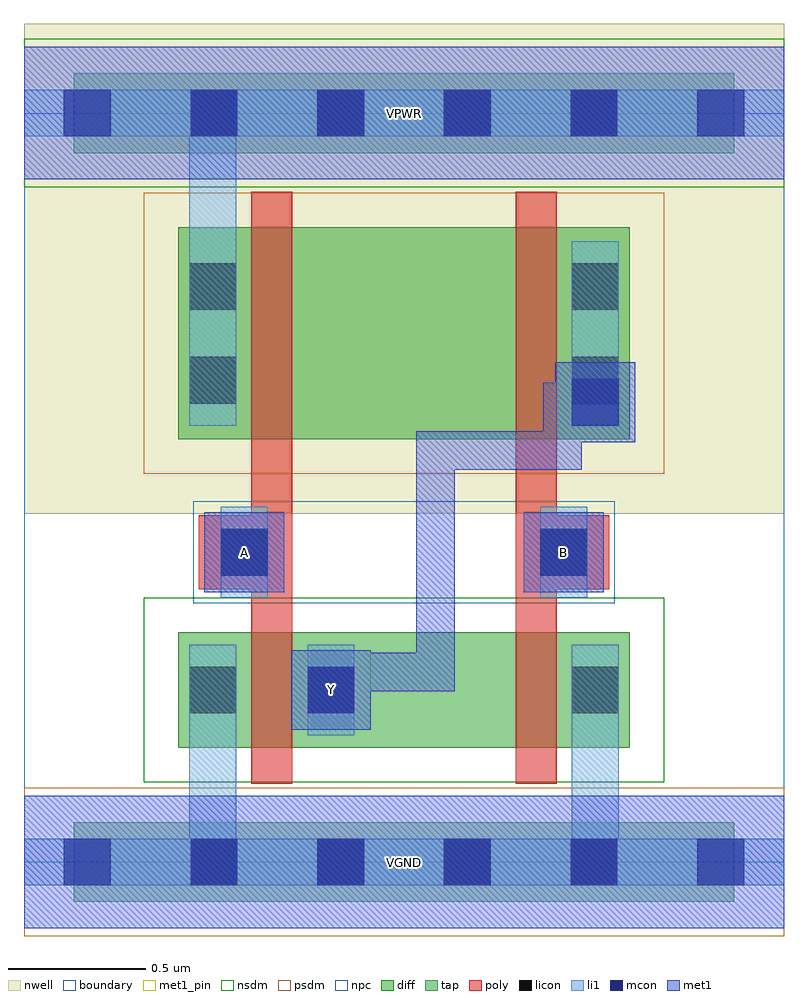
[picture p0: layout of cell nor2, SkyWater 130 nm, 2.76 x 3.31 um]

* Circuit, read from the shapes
.subckt nor2 A B VGND VPWR Y
XM1 Y A VGND VGND sky130_fd_pr__nfet_01v8 w=0.42 l=0.15
XM2 VGND B Y VGND sky130_fd_pr__nfet_01v8 w=0.42 l=0.15
XM3 n1 A VPWR VPWR sky130_fd_pr__pfet_01v8 w=0.77 l=0.15
XM4 Y B n1 VPWR sky130_fd_pr__pfet_01v8 w=0.77 l=0.15
.ends

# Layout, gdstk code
import gdstk
lib = gdstk.Library(unit=1e-6, precision=1e-09)
def R(c, l, rs):  # rectangles x0, y0, x1, y1
    for r in rs: c.add(gdstk.rectangle(r[:2], r[2:], *l))
def A(c, l, x, y, w, h, nx, ny, dx, dy):  # array of equal rectangles
    R(c, l, [(x+i*dx, y+j*dy, x+i*dx+w, y+j*dy+h) for i in range(nx) for j in range(ny)])
nwell = (64, 20)
diff = (65, 20)
tap = (65, 44)
poly = (66, 20)
licon = (66, 44)
li1 = (67, 20)
mcon = (67, 44)
met1_pin = (68, 16)
met1 = (68, 20)
nsdm = (93, 44)
psdm = (94, 20)
npc = (95, 20)
boundary = (235, 4)

nor2 = lib.new_cell('nor2')
R(nor2, nwell, [(0,1.265,2.76,3.045)])
R(nor2, diff, [(0.56,0.415,2.2,0.835), (0.56,1.535,2.2,2.305)])
R(nor2, tap, [(0.18,-0.145,2.58,0.145), (0.18,2.575,2.58,2.865)])
R(nor2, poly, [(0.825,0.285,0.975,2.435), (1.785,0.285,1.935,2.435), (0.635,0.99,0.965,1.26), (1.795,0.99,2.125,1.26)])
A(nor2, licon, 0.605, -0.085, 0.17, 0.17, 4, 2, 0.46, 2.72)
R(nor2, licon, [(0.6,0.54,0.77,0.71), (1.03,0.54,1.2,0.71), (1.99,0.54,2.16,0.71), (0.715,1.04,0.885,1.21), (1.875,1.04,2.045,1.21), (0.6,1.665,0.77,1.835), (1.99,1.665,2.16,1.835), (0.6,2.005,0.77,2.175), (1.99,2.005,2.16,2.175)])
R(nor2, li1, [(0,-0.085,2.76,0.085), (0.6,-0.085,0.77,0.79), (1.99,-0.085,2.16,0.79), (0.6,0.46,0.77,0.79), (1.03,0.46,1.2,0.79), (1.99,0.46,2.16,0.79), (0.715,0.96,0.885,1.29), (1.875,0.96,2.045,1.29), (0.6,1.585,0.77,2.255), (0.6,1.585,0.77,2.805), (1.99,1.585,2.16,2.255), (0,2.635,2.76,2.805)])
A(nor2, mcon, 0.145, -0.085, 0.17, 0.17, 6, 2, 0.46, 2.72)
R(nor2, mcon, [(1.03,0.54,1.2,0.71), (0.715,1.04,0.885,1.21), (1.875,1.04,2.045,1.21), (1.99,1.585,2.16,1.755)])
R(nor2, met1_pin, [(0,-0.24,2.76,0.24), (0.97,0.48,1.26,0.77), (0.655,0.98,0.945,1.27), (1.815,0.98,2.105,1.27), (0,2.48,2.76,2.96)])
R(nor2, met1, [(0,-0.24,2.76,0.24), (0.97,0.48,1.26,0.77), (1.08,0.62,1.22,0.76), (1.08,0.62,1.565,0.76), (1.425,0.62,1.565,1.565), (0.655,0.98,0.945,1.27), (1.815,0.98,2.105,1.27), (1.425,1.425,2.025,1.565), (1.885,1.425,2.025,1.74), (1.93,1.525,2.22,1.815), (1.885,1.565,2.025,1.6), (1.885,1.565,2.025,1.6), (1.885,1.565,2.025,1.6), (1.885,1.565,2.025,1.6), (1.885,1.565,2.025,1.6), (1.885,1.565,2.025,1.6), (1.885,1.6,2.145,1.74), (0,2.48,2.76,2.96)])
R(nor2, nsdm, [(0.435,0.29,2.325,0.96), (0,2.45,2.76,2.99)])
R(nor2, psdm, [(0,-0.27,2.76,0.27), (0.435,1.41,2.325,2.43)])
R(nor2, npc, [(0.615,0.94,2.145,1.31)])
R(nor2, boundary, [(0,0,2.76,2.72)])
nor2.add(gdstk.Label('A', (0.8,1.125), layer=68, texttype=5))
nor2.add(gdstk.Label('B', (1.96,1.125), layer=68, texttype=5))
nor2.add(gdstk.Label('Y', (1.115,0.625), layer=68, texttype=5))
nor2.add(gdstk.Label('VPWR', (1.38,2.72), layer=68, texttype=5))
nor2.add(gdstk.Label('VGND', (1.38,0), layer=68, texttype=5))
nor2.add(gdstk.Label('A', (0.8,1.125), layer=68, texttype=16))
nor2.add(gdstk.Label('B', (1.96,1.125), layer=68, texttype=16))
nor2.add(gdstk.Label('Y', (1.115,0.625), layer=68, texttype=16))
nor2.add(gdstk.Label('VPWR', (1.38,2.72), layer=68, texttype=16))
nor2.add(gdstk.Label('VGND', (1.38,0), layer=68, texttype=16))

lib.write_gds('nor2.gds')
